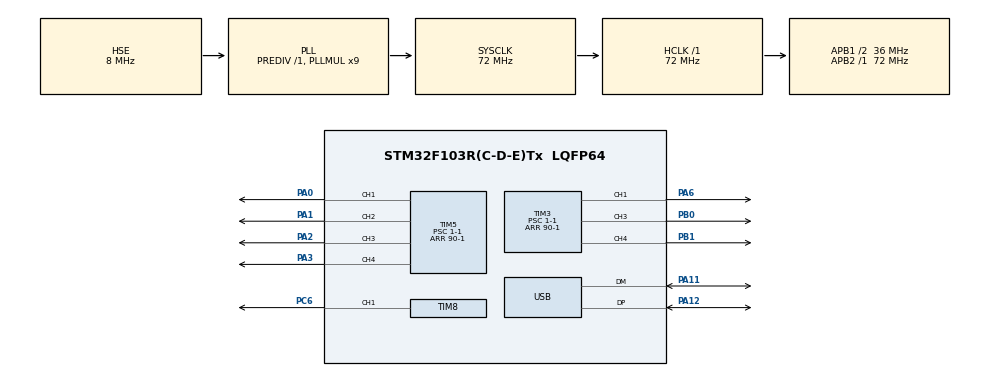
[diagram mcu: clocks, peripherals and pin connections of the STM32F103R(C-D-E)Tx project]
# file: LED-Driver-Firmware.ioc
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Dma.Request0=TIM5_CH2
Dma.Request1=TIM5_CH3/UP
Dma.Request2=TIM5_CH4/TRIG
Dma.Request3=TIM8_CH1
Dma.Request4=TIM3_CH1/TRIG
Dma.Request5=TIM3_CH3
Dma.Request6=TIM3_CH4/UP
Dma.Request7=TIM5_CH1
Dma.TIM3_CH1/TRIG.4.Direction=DMA_PERIPH_TO_MEMORY
Dma.TIM3_CH1/TRIG.4.Instance=DMA1_Channel6
Dma.TIM3_CH1/TRIG.4.MemDataAlignment=DMA_MDATAALIGN_HALFWORD
Dma.TIM3_CH1/TRIG.4.MemInc=DMA_MINC_ENABLE
Dma.TIM3_CH1/TRIG.4.Mode=DMA_NORMAL
Dma.TIM3_CH1/TRIG.4.PeriphDataAlignment=DMA_PDATAALIGN_HALFWORD
Dma.TIM3_CH1/TRIG.4.PeriphInc=DMA_PINC_DISABLE
Dma.TIM3_CH1/TRIG.4.Priority=DMA_PRIORITY_LOW
Dma.TIM3_CH3.5.Direction=DMA_MEMORY_TO_PERIPH
Dma.TIM3_CH3.5.Instance=DMA1_Channel2
Dma.TIM3_CH3.5.MemDataAlignment=DMA_MDATAALIGN_BYTE
Dma.TIM3_CH3.5.MemInc=DMA_MINC_ENABLE
Dma.TIM3_CH3.5.Mode=DMA_NORMAL
Dma.TIM3_CH3.5.PeriphDataAlignment=DMA_PDATAALIGN_HALFWORD
Dma.TIM3_CH3.5.PeriphInc=DMA_PINC_DISABLE
Dma.TIM3_CH3.5.Priority=DMA_PRIORITY_LOW
Dma.TIM3_CH4/UP.6.Direction=DMA_PERIPH_TO_MEMORY
Dma.TIM3_CH4/UP.6.Instance=DMA1_Channel3
Dma.TIM3_CH4/UP.6.MemDataAlignment=DMA_MDATAALIGN_HALFWORD
Dma.TIM3_CH4/UP.6.MemInc=DMA_MINC_ENABLE
Dma.TIM3_CH4/UP.6.Mode=DMA_NORMAL
Dma.TIM3_CH4/UP.6.PeriphDataAlignment=DMA_PDATAALIGN_HALFWORD
Dma.TIM3_CH4/UP.6.PeriphInc=DMA_PINC_DISABLE
Dma.TIM3_CH4/UP.6.Priority=DMA_PRIORITY_LOW
Dma.TIM5_CH1.7.Direction=DMA_PERIPH_TO_MEMORY
Dma.TIM5_CH1.7.Instance=DMA2_Channel5
Dma.TIM5_CH1.7.MemDataAlignment=DMA_MDATAALIGN_HALFWORD
Dma.TIM5_CH1.7.MemInc=DMA_MINC_ENABLE
Dma.TIM5_CH1.7.Mode=DMA_NORMAL
Dma.TIM5_CH1.7.PeriphDataAlignment=DMA_PDATAALIGN_HALFWORD
Dma.TIM5_CH1.7.PeriphInc=DMA_PINC_DISABLE
Dma.TIM5_CH1.7.Priority=DMA_PRIORITY_LOW
Dma.TIM5_CH2.0.Direction=DMA_PERIPH_TO_MEMORY
Dma.TIM5_CH2.0.Instance=DMA2_Channel4
Dma.TIM5_CH2.0.MemDataAlignment=DMA_MDATAALIGN_HALFWORD
Dma.TIM5_CH2.0.MemInc=DMA_MINC_ENABLE
Dma.TIM5_CH2.0.Mode=DMA_NORMAL
Dma.TIM5_CH2.0.PeriphDataAlignment=DMA_PDATAALIGN_HALFWORD
Dma.TIM5_CH2.0.PeriphInc=DMA_PINC_DISABLE
Dma.TIM5_CH2.0.Priority=DMA_PRIORITY_LOW
Dma.TIM5_CH3/UP.1.Direction=DMA_PERIPH_TO_MEMORY
Dma.TIM5_CH3/UP.1.Instance=DMA2_Channel2
Dma.TIM5_CH3/UP.1.MemDataAlignment=DMA_MDATAALIGN_HALFWORD
Dma.TIM5_CH3/UP.1.MemInc=DMA_MINC_ENABLE
Dma.TIM5_CH3/UP.1.Mode=DMA_NORMAL
Dma.TIM5_CH3/UP.1.PeriphDataAlignment=DMA_PDATAALIGN_HALFWORD
Dma.TIM5_CH3/UP.1.PeriphInc=DMA_PINC_DISABLE
Dma.TIM5_CH3/UP.1.Priority=DMA_PRIORITY_LOW
Dma.TIM5_CH4/TRIG.2.Direction=DMA_PERIPH_TO_MEMORY
Dma.TIM5_CH4/TRIG.2.Instance=DMA2_Channel1
Dma.TIM5_CH4/TRIG.2.MemDataAlignment=DMA_MDATAALIGN_HALFWORD
Dma.TIM5_CH4/TRIG.2.MemInc=DMA_MINC_ENABLE
Dma.TIM5_CH4/TRIG.2.Mode=DMA_NORMAL
Dma.TIM5_CH4/TRIG.2.PeriphDataAlignment=DMA_PDATAALIGN_HALFWORD
Dma.TIM5_CH4/TRIG.2.PeriphInc=DMA_PINC_DISABLE
Dma.TIM5_CH4/TRIG.2.Priority=DMA_PRIORITY_LOW
Dma.TIM8_CH1.3.Direction=DMA_PERIPH_TO_MEMORY
Dma.TIM8_CH1.3.Instance=DMA2_Channel3
Dma.TIM8_CH1.3.MemDataAlignment=DMA_MDATAALIGN_HALFWORD
Dma.TIM8_CH1.3.MemInc=DMA_MINC_ENABLE
Dma.TIM8_CH1.3.Mode=DMA_NORMAL
Dma.TIM8_CH1.3.PeriphDataAlignment=DMA_PDATAALIGN_HALFWORD
Dma.TIM8_CH1.3.PeriphInc=DMA_PINC_DISABLE
Dma.TIM8_CH1.3.Priority=DMA_PRIORITY_LOW
Mcu.Family=STM32F1
Mcu.Name=STM32F103R(C-D-E)Tx
Mcu.Package=LQFP64
NVIC.DMA1_Channel2_IRQn=true\:0\:0\:false\:false\:true\:false\:true\:true
NVIC.DMA1_Channel3_IRQn=true\:0\:0\:false\:false\:true\:false\:true\:true
NVIC.DMA1_Channel6_IRQn=true\:0\:0\:false\:false\:true\:false\:true\:true
NVIC.DMA2_Channel1_IRQn=true\:0\:0\:false\:false\:true\:false\:true\:true
NVIC.DMA2_Channel2_IRQn=true\:0\:0\:false\:false\:true\:false\:true\:true
NVIC.DMA2_Channel3_IRQn=true\:0\:0\:false\:false\:true\:false\:true\:true
NVIC.DMA2_Channel4_5_IRQn=true\:0\:0\:false\:false\:true\:false\:true\:true
NVIC.PriorityGroup=NVIC_PRIORITYGROUP_4
NVIC.TIM3_IRQn=true\:0\:0\:false\:false\:true\:true\:true\:true
NVIC.USB_HP_CAN1_TX_IRQn=true\:0\:0\:false\:false\:true\:true\:true\:true
NVIC.USB_LP_CAN1_RX0_IRQn=true\:0\:0\:false\:false\:true\:true\:true\:true
PA0-WKUP.Signal=S_TIM5_CH1
PA1.Signal=S_TIM5_CH2
PA11.Mode=Device
PA11.Signal=USB_DM
PA12.Mode=Device
PA12.Signal=USB_DP
PA13.Mode=Trace_Asynchronous_SW
PA13.Signal=SYS_JTMS-SWDIO
PA14.Mode=Trace_Asynchronous_SW
PA14.Signal=SYS_JTCK-SWCLK
PA2.Signal=S_TIM5_CH3
PA3.Signal=S_TIM5_CH4
PA6.Signal=S_TIM3_CH1
PB0.Signal=S_TIM3_CH3
PB1.Signal=S_TIM3_CH4
PB3.Mode=Trace_Asynchronous_SW
PB3.Signal=SYS_JTDO-TRACESWO
PC6.Signal=S_TIM8_CH1
PD0-OSC_IN.Mode=HSE-External-Oscillator
PD0-OSC_IN.Signal=RCC_OSC_IN
PD1-OSC_OUT.Mode=HSE-External-Oscillator
PD1-OSC_OUT.Signal=RCC_OSC_OUT
ProjectManager.HeapSize=0x200
ProjectManager.StackSize=0x400
ProjectManager.TargetToolchain=STM32CubeIDE
RCC.AHBFreq_Value=72000000
RCC.APB1CLKDivider=RCC_HCLK_DIV2
RCC.APB1Freq_Value=36000000
RCC.APB1TimFreq_Value=72000000
RCC.APB2Freq_Value=72000000
RCC.APB2TimFreq_Value=72000000
RCC.HCLKFreq_Value=72000000
RCC.PLLMUL=RCC_PLL_MUL9
RCC.SYSCLKFreq_VALUE=72000000
RCC.SYSCLKSource=RCC_SYSCLKSOURCE_PLLCLK
RCC.USBFreq_Value=48000000
RCC.USBPrescaler=RCC_USBCLKSOURCE_PLL_DIV1_5
SH.S_TIM3_CH1.0=TIM3_CH1,PWM Generation1 CH1
SH.S_TIM3_CH3.0=TIM3_CH3,PWM Generation3 CH3
SH.S_TIM3_CH4.0=TIM3_CH4,PWM Generation4 CH4
SH.S_TIM5_CH1.0=TIM5_CH1,PWM Generation1 CH1
SH.S_TIM5_CH2.0=TIM5_CH2,PWM Generation2 CH2
SH.S_TIM5_CH3.0=TIM5_CH3,PWM Generation3 CH3
SH.S_TIM5_CH4.0=TIM5_CH4,PWM Generation4 CH4
SH.S_TIM8_CH1.0=TIM8_CH1,PWM Generation1 CH1
TIM3.Channel-PWM\ Generation1\ CH1=TIM_CHANNEL_1
TIM3.Channel-PWM\ Generation3\ CH3=TIM_CHANNEL_3
TIM3.Channel-PWM\ Generation4\ CH4=TIM_CHANNEL_4
TIM3.Period=90-1
TIM3.Prescaler=1-1
TIM5.Channel-PWM\ Generation1\ CH1=TIM_CHANNEL_1
TIM5.Channel-PWM\ Generation2\ CH2=TIM_CHANNEL_2
TIM5.Channel-PWM\ Generation3\ CH3=TIM_CHANNEL_3
TIM5.Channel-PWM\ Generation4\ CH4=TIM_CHANNEL_4
TIM5.Period=90-1
TIM5.Prescaler=1-1
TIM8.Channel-PWM\ Generation1\ CH1=TIM_CHANNEL_1
TIM8.Period=90-1
TIM8.Prescaler=1-1
USB_DEVICE.CLASS_NAME_FS=CDC
USB_DEVICE.VirtualMode=Cdc
USB_DEVICE.VirtualModeFS=Cdc_FS
VP_USB_DEVICE_VS_USB_DEVICE_CDC_FS.Mode=CDC_FS
board=custom

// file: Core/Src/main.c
/* USER CODE BEGIN Header */
/**
  ******************************************************************************
  * @file           : main.c
  * @brief          : Main program body
  ******************************************************************************
  * @attention
  *
  * Copyright (c) 2025 STMicroelectronics.
  * All rights reserved.
  *
  * This software is licensed under terms that can be found in the LICENSE file
  * in the root directory of this software component.
  * If no LICENSE file comes with this software, it is provided AS-IS.
  *
  ******************************************************************************
  */
/* USER CODE END Header */
#include "main.h"
#include "usb_device.h"

/* USER CODE BEGIN Includes */
#include "usbd_cdc_if.h"
/* USER CODE END Includes */

/* USER CODE BEGIN PD */
#define USB_BUFLEN 128
/* USER CODE END PD */

TIM_HandleTypeDef htim3;
TIM_HandleTypeDef htim5;
TIM_HandleTypeDef htim8;
DMA_HandleTypeDef hdma_tim3_ch1_trig;
DMA_HandleTypeDef hdma_tim3_ch3;
DMA_HandleTypeDef hdma_tim3_ch4_up;
DMA_HandleTypeDef hdma_tim5_ch2;
DMA_HandleTypeDef hdma_tim5_ch3_up;
DMA_HandleTypeDef hdma_tim5_ch4_trig;
DMA_HandleTypeDef hdma_tim5_ch1;
DMA_HandleTypeDef hdma_tim8_ch1;

/* USER CODE BEGIN PV */

// -- USB --
uint8_t	 	usbTxBuf[USB_BUFLEN];
uint16_t 	usbTxBufLen;

uint8_t 	usbRxBuf[USB_BUFLEN];
uint16_t 	usbRxBufLen;
uint8_t  	usbRxFlag = 0;

// -- LED Strips --
SK6812_HandleTypeDef strip1;
SK6812_DATA_RGB led_data1[SK6812_NUM_LEDS];
uint8_t dma_buf1[SK6812_DMA_BUF_LEN(SK6812_NUM_LEDS)];

/* USER CODE END PV */

void SystemClock_Config(void);
static void MX_GPIO_Init(void);
static void MX_DMA_Init(void);
static void MX_TIM5_Init(void);
static void MX_TIM8_Init(void);
static void MX_TIM3_Init(void);

/* USER CODE BEGIN 0 */
void HAL_TIM_PWM_PulseFinishedCallback(TIM_HandleTypeDef *htim) {

	if (htim == strip1.timer) {
		SK6812_DMACompleteCallback(&strip1);
	}

}

void USB_RxCallback(uint8_t* Buf, uint32_t* Len) {

	memcpy(usbRxBuf, Buf, *Len);
	usbRxBufLen = *Len;
	usbRxFlag = 1;

}
/* USER CODE END 0 */

int main(void)
{

  /* MCU Configuration--------------------------------------------------------*/

  /* Reset of all peripherals, Initializes the Flash interface and the Systick. */
  HAL_Init();

  /* Configure the system clock */
  SystemClock_Config();

  /* Initialize all configured peripherals */
  MX_GPIO_Init();
  MX_DMA_Init();
  MX_TIM5_Init();
  MX_TIM8_Init();
  MX_TIM3_Init();
  MX_USB_DEVICE_Init();
  /* USER CODE BEGIN 2 */
  SK6812_Init(&strip1, &htim5, TIM_CHANNEL_1, dma_buf1, SK6812_DMA_BUF_LEN(SK6812_NUM_LEDS), led_data1, SK6812_NUM_LEDS);
  /* USER CODE END 2 */

  /* Infinite loop */
  /* USER CODE BEGIN WHILE */
  uint8_t led = 0;
  uint8_t direction = 0;

  while (1)
  {
    /* USER CODE END WHILE */

    /* USER CODE BEGIN 3 */
		for (uint8_t i = 0; i < SK6812_NUM_LEDS; i++) {
			if (i == led)
				SK6812_SetColour(&strip1, i, 235, 52, 232);
			else
				SK6812_SetColour(&strip1, i, 0, 0, 0);
		}
		if (direction == 0)
			led++;
		else
			led--;
		if (led >= SK6812_NUM_LEDS) {
			led = SK6812_NUM_LEDS;
			direction = 1;
		}
		else if (led <= 0) {
			led = 0;
			direction = 0;
		}
		SK6812_Update(&strip1);

		if (usbRxFlag && usbRxBufLen) {

			usbTxBufLen = snprintf((char*)usbTxBuf, USB_BUFLEN, "%s\n", usbRxBuf);

			CDC_Transmit_FS(usbTxBuf, usbTxBufLen);

			usbRxFlag = 0;
			usbRxBufLen = 0;

		}

		HAL_Delay(10);
  }
  /* USER CODE END 3 */
}

void SystemClock_Config(void)
{
  RCC_OscInitTypeDef RCC_OscInitStruct = {0};
  RCC_ClkInitTypeDef RCC_ClkInitStruct = {0};
  RCC_PeriphCLKInitTypeDef PeriphClkInit = {0};

  /** Initializes the RCC Oscillators according to the specified parameters
  * in the RCC_OscInitTypeDef structure.
  */
  RCC_OscInitStruct.OscillatorType = RCC_OSCILLATORTYPE_HSE;
  RCC_OscInitStruct.HSEState = RCC_HSE_ON;
  RCC_OscInitStruct.HSEPredivValue = RCC_HSE_PREDIV_DIV1;
  RCC_OscInitStruct.HSIState = RCC_HSI_ON;
  RCC_OscInitStruct.PLL.PLLState = RCC_PLL_ON;
  RCC_OscInitStruct.PLL.PLLSource = RCC_PLLSOURCE_HSE;
  RCC_OscInitStruct.PLL.PLLMUL = RCC_PLL_MUL9;
  if (HAL_RCC_OscConfig(&RCC_OscInitStruct) != HAL_OK)
  {
    Error_Handler();
  }

  /** Initializes the CPU, AHB and APB buses clocks
  */
  RCC_ClkInitStruct.ClockType = RCC_CLOCKTYPE_HCLK|RCC_CLOCKTYPE_SYSCLK
                              |RCC_CLOCKTYPE_PCLK1|RCC_CLOCKTYPE_PCLK2;
  RCC_ClkInitStruct.SYSCLKSource = RCC_SYSCLKSOURCE_PLLCLK;
  RCC_ClkInitStruct.AHBCLKDivider = RCC_SYSCLK_DIV1;
  RCC_ClkInitStruct.APB1CLKDivider = RCC_HCLK_DIV2;
  RCC_ClkInitStruct.APB2CLKDivider = RCC_HCLK_DIV1;

  if (HAL_RCC_ClockConfig(&RCC_ClkInitStruct, FLASH_LATENCY_2) != HAL_OK)
  {
    Error_Handler();
  }
  PeriphClkInit.PeriphClockSelection = RCC_PERIPHCLK_USB;
  PeriphClkInit.UsbClockSelection = RCC_USBCLKSOURCE_PLL_DIV1_5;
  if (HAL_RCCEx_PeriphCLKConfig(&PeriphClkInit) != HAL_OK)
  {
    Error_Handler();
  }
}

static void MX_TIM3_Init(void)
{

  TIM_MasterConfigTypeDef sMasterConfig = {0};
  TIM_OC_InitTypeDef sConfigOC = {0};

  htim3.Instance = TIM3;
  htim3.Init.Prescaler = 1-1;
  htim3.Init.CounterMode = TIM_COUNTERMODE_UP;
  htim3.Init.Period = 90-1;
  htim3.Init.ClockDivision = TIM_CLOCKDIVISION_DIV1;
  htim3.Init.AutoReloadPreload = TIM_AUTORELOAD_PRELOAD_DISABLE;
  if (HAL_TIM_PWM_Init(&htim3) != HAL_OK)
  {
    Error_Handler();
  }
  sMasterConfig.MasterOutputTrigger = TIM_TRGO_RESET;
  sMasterConfig.MasterSlaveMode = TIM_MASTERSLAVEMODE_DISABLE;
  if (HAL_TIMEx_MasterConfigSynchronization(&htim3, &sMasterConfig) != HAL_OK)
  {
    Error_Handler();
  }
  sConfigOC.OCMode = TIM_OCMODE_PWM1;
  sConfigOC.Pulse = 0;
  sConfigOC.OCPolarity = TIM_OCPOLARITY_HIGH;
  sConfigOC.OCFastMode = TIM_OCFAST_DISABLE;
  if (HAL_TIM_PWM_ConfigChannel(&htim3, &sConfigOC, TIM_CHANNEL_1) != HAL_OK)
  {
    Error_Handler();
  }
  if (HAL_TIM_PWM_ConfigChannel(&htim3, &sConfigOC, TIM_CHANNEL_3) != HAL_OK)
  {
    Error_Handler();
  }
  if (HAL_TIM_PWM_ConfigChannel(&htim3, &sConfigOC, TIM_CHANNEL_4) != HAL_OK)
  {
    Error_Handler();
  }
  HAL_TIM_MspPostInit(&htim3);

}

static void MX_TIM5_Init(void)
{

  TIM_MasterConfigTypeDef sMasterConfig = {0};
  TIM_OC_InitTypeDef sConfigOC = {0};

  htim5.Instance = TIM5;
  htim5.Init.Prescaler = 1-1;
  htim5.Init.CounterMode = TIM_COUNTERMODE_UP;
  htim5.Init.Period = 90-1;
  htim5.Init.ClockDivision = TIM_CLOCKDIVISION_DIV1;
  htim5.Init.AutoReloadPreload = TIM_AUTORELOAD_PRELOAD_DISABLE;
  if (HAL_TIM_PWM_Init(&htim5) != HAL_OK)
  {
    Error_Handler();
  }
  sMasterConfig.MasterOutputTrigger = TIM_TRGO_RESET;
  sMasterConfig.MasterSlaveMode = TIM_MASTERSLAVEMODE_DISABLE;
  if (HAL_TIMEx_MasterConfigSynchronization(&htim5, &sMasterConfig) != HAL_OK)
  {
    Error_Handler();
  }
  sConfigOC.OCMode = TIM_OCMODE_PWM1;
  sConfigOC.Pulse = 0;
  sConfigOC.OCPolarity = TIM_OCPOLARITY_HIGH;
  sConfigOC.OCFastMode = TIM_OCFAST_DISABLE;
  if (HAL_TIM_PWM_ConfigChannel(&htim5, &sConfigOC, TIM_CHANNEL_1) != HAL_OK)
  {
    Error_Handler();
  }
  if (HAL_TIM_PWM_ConfigChannel(&htim5, &sConfigOC, TIM_CHANNEL_2) != HAL_OK)
  {
    Error_Handler();
  }
  if (HAL_TIM_PWM_ConfigChannel(&htim5, &sConfigOC, TIM_CHANNEL_3) != HAL_OK)
  {
    Error_Handler();
  }
  if (HAL_TIM_PWM_ConfigChannel(&htim5, &sConfigOC, TIM_CHANNEL_4) != HAL_OK)
  {
    Error_Handler();
  }
  HAL_TIM_MspPostInit(&htim5);

}

static void MX_TIM8_Init(void)
{

  TIM_MasterConfigTypeDef sMasterConfig = {0};
  TIM_OC_InitTypeDef sConfigOC = {0};
  TIM_BreakDeadTimeConfigTypeDef sBreakDeadTimeConfig = {0};

  htim8.Instance = TIM8;
  htim8.Init.Prescaler = 1-1;
  htim8.Init.CounterMode = TIM_COUNTERMODE_UP;
  htim8.Init.Period = 90-1;
  htim8.Init.ClockDivision = TIM_CLOCKDIVISION_DIV1;
  htim8.Init.RepetitionCounter = 0;
  htim8.Init.AutoReloadPreload = TIM_AUTORELOAD_PRELOAD_DISABLE;
  if (HAL_TIM_PWM_Init(&htim8) != HAL_OK)
  {
    Error_Handler();
  }
  sMasterConfig.MasterOutputTrigger = TIM_TRGO_RESET;
  sMasterConfig.MasterSlaveMode = TIM_MASTERSLAVEMODE_DISABLE;
  if (HAL_TIMEx_MasterConfigSynchronization(&htim8, &sMasterConfig) != HAL_OK)
  {
    Error_Handler();
  }
  sConfigOC.OCMode = TIM_OCMODE_PWM1;
  sConfigOC.Pulse = 0;
  sConfigOC.OCPolarity = TIM_OCPOLARITY_HIGH;
  sConfigOC.OCNPolarity = TIM_OCNPOLARITY_HIGH;
  sConfigOC.OCFastMode = TIM_OCFAST_DISABLE;
  sConfigOC.OCIdleState = TIM_OCIDLESTATE_RESET;
  sConfigOC.OCNIdleState = TIM_OCNIDLESTATE_RESET;
  if (HAL_TIM_PWM_ConfigChannel(&htim8, &sConfigOC, TIM_CHANNEL_1) != HAL_OK)
  {
    Error_Handler();
  }
  sBreakDeadTimeConfig.OffStateRunMode = TIM_OSSR_DISABLE;
  sBreakDeadTimeConfig.OffStateIDLEMode = TIM_OSSI_DISABLE;
  sBreakDeadTimeConfig.LockLevel = TIM_LOCKLEVEL_OFF;
  sBreakDeadTimeConfig.DeadTime = 0;
  sBreakDeadTimeConfig.BreakState = TIM_BREAK_DISABLE;
  sBreakDeadTimeConfig.BreakPolarity = TIM_BREAKPOLARITY_HIGH;
  sBreakDeadTimeConfig.AutomaticOutput = TIM_AUTOMATICOUTPUT_DISABLE;
  if (HAL_TIMEx_ConfigBreakDeadTime(&htim8, &sBreakDeadTimeConfig) != HAL_OK)
  {
    Error_Handler();
  }
  HAL_TIM_MspPostInit(&htim8);

}

static void MX_DMA_Init(void)
{

  /* DMA controller clock enable */
  __HAL_RCC_DMA2_CLK_ENABLE();
  __HAL_RCC_DMA1_CLK_ENABLE();

  /* DMA interrupt init */
  /* DMA1_Channel2_IRQn interrupt configuration */
  HAL_NVIC_SetPriority(DMA1_Channel2_IRQn, 0, 0);
  HAL_NVIC_EnableIRQ(DMA1_Channel2_IRQn);
  /* DMA1_Channel3_IRQn interrupt configuration */
  HAL_NVIC_SetPriority(DMA1_Channel3_IRQn, 0, 0);
  HAL_NVIC_EnableIRQ(DMA1_Channel3_IRQn);
  /* DMA1_Channel6_IRQn interrupt configuration */
  HAL_NVIC_SetPriority(DMA1_Channel6_IRQn, 0, 0);
  HAL_NVIC_EnableIRQ(DMA1_Channel6_IRQn);
  /* DMA2_Channel1_IRQn interrupt configuration */
  HAL_NVIC_SetPriority(DMA2_Channel1_IRQn, 0, 0);
  HAL_NVIC_EnableIRQ(DMA2_Channel1_IRQn);
  /* DMA2_Channel2_IRQn interrupt configuration */
  HAL_NVIC_SetPriority(DMA2_Channel2_IRQn, 0, 0);
  HAL_NVIC_EnableIRQ(DMA2_Channel2_IRQn);
  /* DMA2_Channel3_IRQn interrupt configuration */
  HAL_NVIC_SetPriority(DMA2_Channel3_IRQn, 0, 0);
  HAL_NVIC_EnableIRQ(DMA2_Channel3_IRQn);
  /* DMA2_Channel4_5_IRQn interrupt configuration */
  HAL_NVIC_SetPriority(DMA2_Channel4_5_IRQn, 0, 0);
  HAL_NVIC_EnableIRQ(DMA2_Channel4_5_IRQn);

}

static void MX_GPIO_Init(void)
{

  /* GPIO Ports Clock Enable */
  __HAL_RCC_GPIOD_CLK_ENABLE();
  __HAL_RCC_GPIOA_CLK_ENABLE();
  __HAL_RCC_GPIOB_CLK_ENABLE();
  __HAL_RCC_GPIOC_CLK_ENABLE();

}

void Error_Handler(void)
{
  __disable_irq();
  while (1)
  {
  }
}
